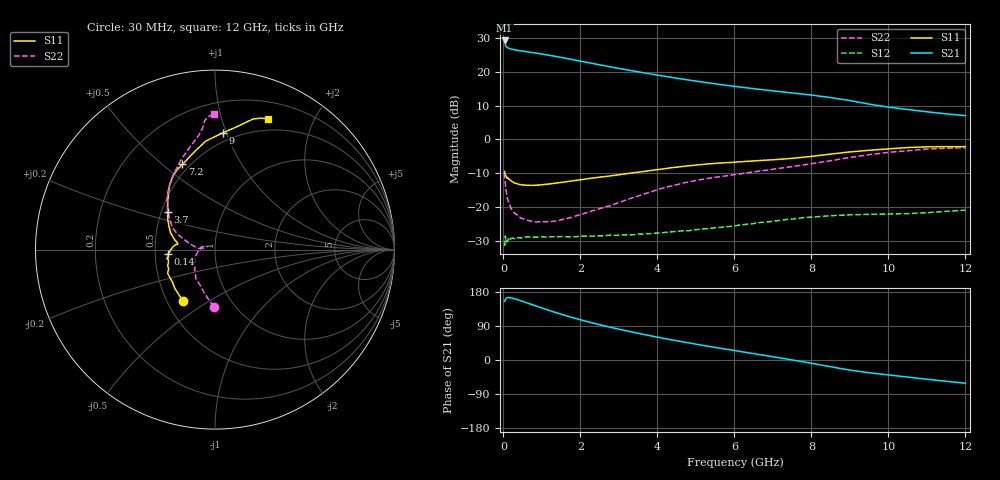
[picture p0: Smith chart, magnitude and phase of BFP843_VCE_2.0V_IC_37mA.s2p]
! Infineon Technologies  Discrete & RF Semiconductors
! BFP843
! VCE =  2.0 V,  IC =  37 mA
! Common Emitter S-Parameters:  Aug 2013
# GHz  S  MA  R  50
!  f  S11  S21  S12  S22
! GHz  MAG  ANG  MAG  ANG  MAG  ANG  MAG  ANG
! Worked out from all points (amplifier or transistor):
!   103 points, 30 MHz to 12 GHz, reference 50 ohm
!   highest |S21| = 29.3 dB at 30 MHz (marker M1)
!   |S21| within 3 dB of that: start of sweep to 395.8 MHz
!   unconditionally stable (mu >= 1): 84.35 MHz to 10.49 GHz
!   at 400 MHz: K = 1.03, MAG = 26.6 dB, |S12| = -29.1 dB
!   at 3.7 GHz: K = 1.35, MAG = 20.3 dB, |S12| = -27.9 dB
!   at 12 GHz: K = 0.84, MSG = 14.0 dB, |S12| = -21.0 dB
!   S11 on the Smith chart (normalised r, x): 30 MHz: 0.60, -0.39; 140 MHz: 0.58, -0.03; 3.7 GHz: 0.54, +0.26; 7.2 GHz: 0.46, +0.59; 9 GHz: 0.43, +0.97; 12 GHz: 0.38, +1.42
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0.03  0.3365 -122.4  29.27 154.6  0.0262 22.1  0.3188 -91.3
0.04  0.3107 -136.3  26.68 157.0  0.0296 22.8  0.2525 -103.2
0.05  0.2987 -142.2  25.36 160.3  0.037 22.3  0.2178 -111.6
0.07  0.2793 -157.6  23.79 162.9  0.0314 11.6  0.1704 -129.7
0.1  0.2656 -167.6  23 164.5  0.0316 9.0  0.1342 -147.0
0.14  0.263 -175.1  22.45 164.8  0.0341 11.5  0.1122 -159.9
0.3  0.2245 173.7  21.23 161.3  0.0334 5.6  0.0799 174.0
0.8  0.209 171.0  19.2 144.2  0.0357 5.4  0.0596 163.7
1.2  0.2192 168.9  17.61 130.4  0.0361 5.2  0.0605 168.5
1.6  0.2346 165.5  16 117.7  0.0363 6.2  0.066 173.5
2.1  0.2571 160.5  14.08 103.4  0.0369 8.3  0.08 175.6
2.5  0.2763 156.1  12.74 93.1  0.0372 8.6  0.0946 175.0
2.9  0.2947 151.4  11.54 83.6  0.0378 9.2  0.1112 172.1
3.7  0.3385 141.3  9.595 66.4  0.0403 12.4  0.1582 164.5
4.1  0.3624 136.4  8.786 58.4  0.0412 13.6  0.1873 161.1
5  0.4169 128.2  7.317 41.8  0.0461 14.9  0.2462 155.1
6.1  0.4641 121.2  6.017 23.3  0.0536 15.7  0.3065 145.9
7.2  0.5086 110.9  5.095 5.3  0.0632 12.1  0.3748 135.4
8.5  0.6066 94.9  4.169 -17.8  0.074 3.0  0.4837 118.1
9  0.6527 86.1  3.764 -26.6  0.0765 -1.3  0.5401 110.0
10.5  0.7586 73.7  2.778 -45.0  0.0796 -9.2  0.6805 95.8
12  0.783 67.8  2.249 -61.3  0.0896 -16.3  0.7547 90.6
